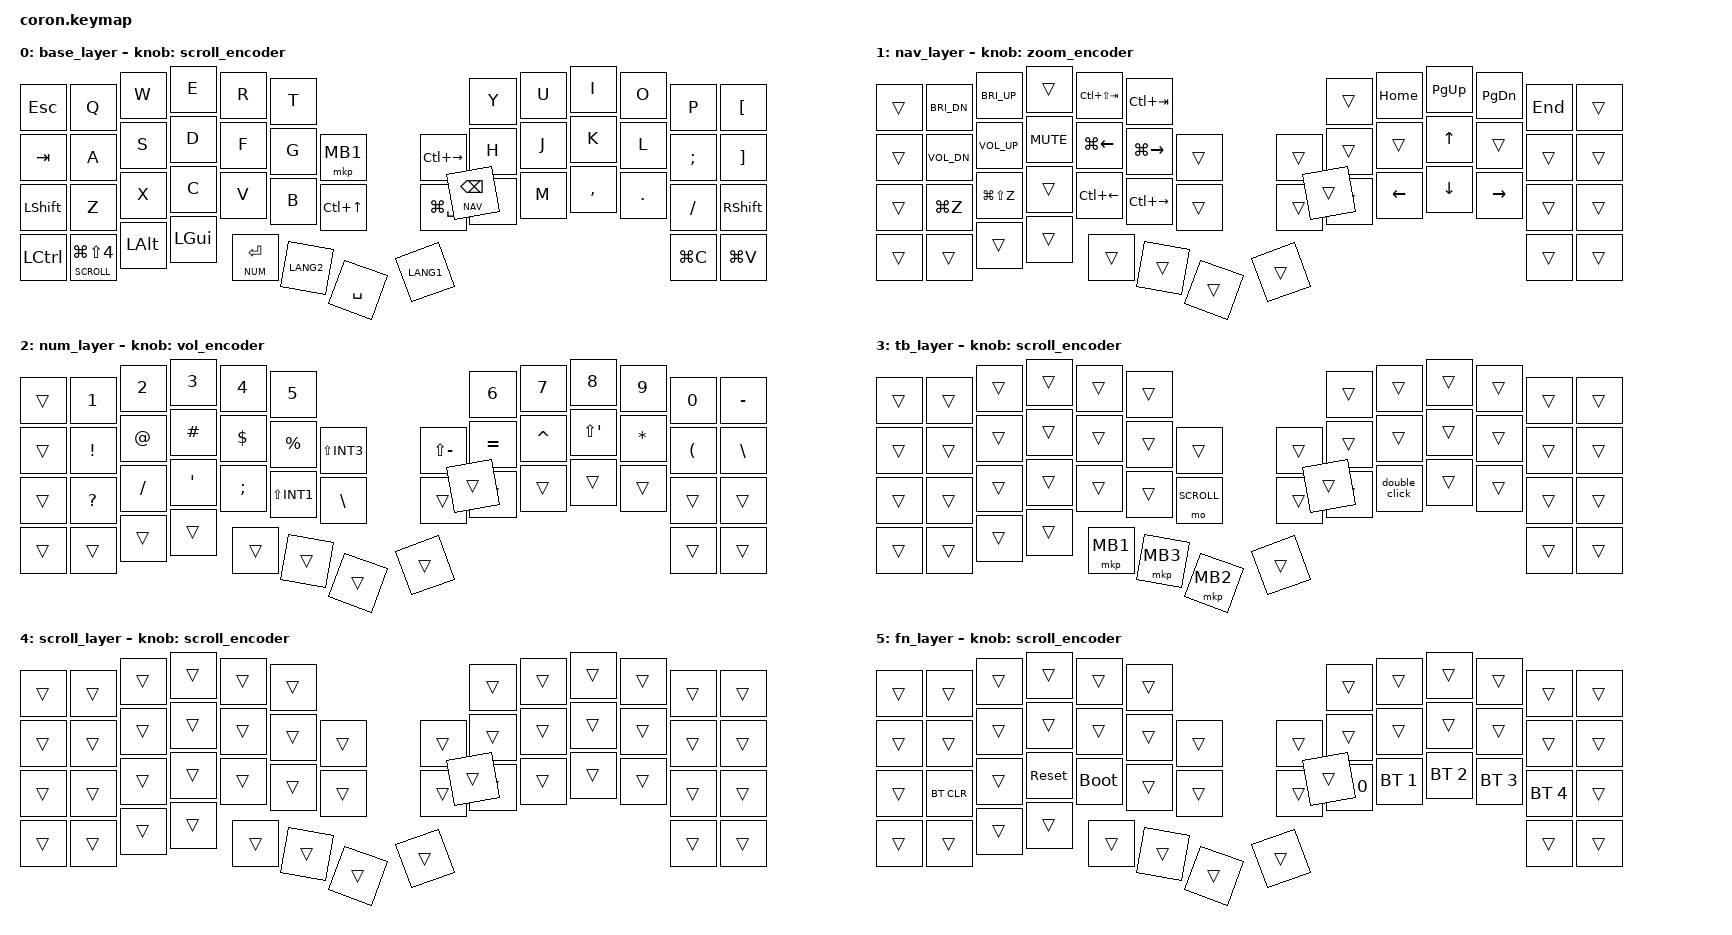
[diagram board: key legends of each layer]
/* coron.keymap
 *
 * Layer map:
 *   0 BASE   — default typing
 *   1 NAV    — navigation + consumer keys   (right thumb hold)
 *   2 NUM    — numbers (Q-row) + symbols    (left thumb hold)
 *   3 TB     — trackball buttons           (trackball auto)
 *   4 SCROLL — trackball scroll mode       (t2=NAV/ENTER hold in TB)
 *   5 FN     — BT, bootloader             (combo: 英数+かな)
 *
 * Physical key index reference (flat, 0-based):
 *   Row0(12): 0-11    Row1(14): 12-25
 *   Row2(14): 26-39   Row3(11): 40-50
 *
 * Thumb cluster Row3:
 *   idx43=Cmd  idx44=t1(NUM/ENTER)  idx45=英数  idx46=SPC
 *   idx47=かな  idx48=th2(NAV/BSPC)  idx49=DEL  idx50=SPC
 */

#include <behaviors.dtsi>
#include <dt-bindings/zmk/bt.h>
#include <dt-bindings/zmk/keys.h>
#define ZMK_POINTING_DEFAULT_SCRL_VAL 200
#include <dt-bindings/zmk/pointing.h>
#include <input/processors.dtsi>

/* ── Layer aliases ─────────────────────────────────────────── */

#define BASE   0
#define NAV    1
#define NUM    2
#define TB     3
#define SCROLL 4
#define FN     5

/* ── Trackball config ──────────────────────────────────────── */

&trackball {
    scroll-layers = <SCROLL>;
};

&trackball_listener {
    input-processors = <&zip_y_scaler 4 3>, <&tb_temp_layer TB 500>;
};

/* ── Global behaviour tweaks ───────────────────────────────── */

&mt {
    flavor = "balanced";
    quick-tap-ms = <0>;
};

&lt {
    flavor = "balanced";
    tapping-term-ms = <200>;
};

/ {
    /* ── Input processors ───────────────────────────────────── */

    zip_y_scaler: zip_y_scaler {
        compatible = "zmk,input-processor-scaler";
        #input-processor-cells = <2>;
        type = <INPUT_EV_REL>;
        codes = <INPUT_REL_Y>;
        track-remainders;
    };

    tb_temp_layer: tb_temp_layer {
        compatible = "zmk,input-processor-temp-layer";
        #input-processor-cells = <2>;
        excluded-positions = <32 35 44 45 46>;
    };

    /* ── Combos ─────────────────────────────────────────────── */

    combos {
        compatible = "zmk,combos";

        /* SPC(idx46) + かな(idx47) simultaneously → FN layer */

        fn_layer {
            bindings = <&mo FN>;
            key-positions = <46 47>;
            timeout-ms = <50>;
        };
    };

    /* ── Macros ──────────────────────────────────────────────── */

    macros {


        ss_macro: ss_macro {
            compatible = "zmk,behavior-macro";
            #binding-cells = <0>;
            bindings = <&kp LG(LS(N4))>;
            label = "SCREENSHOT";
        };

        double_click: double_click {
            compatible = "zmk,behavior-macro";
            #binding-cells = <0>;
            wait-ms = <0>;
            tap-ms = <10>;
            bindings = <&mkp MB1>, <&mkp MB1>;
            label = "DOUBLE_CLICK";
        };

    };

    /* ── Custom behaviours ───────────────────────────────────── */

    behaviors {


        scroll_encoder: scroll_encoder {
            compatible = "zmk,behavior-sensor-rotate";
            #sensor-binding-cells = <0>;
            bindings = <&msc SCRL_DOWN>, <&msc SCRL_UP>;
            tap-ms = <20>;
        };

        hscroll_encoder: hscroll_encoder {
            compatible = "zmk,behavior-sensor-rotate";
            #sensor-binding-cells = <0>;
            bindings = <&msc SCRL_LEFT>, <&msc SCRL_RIGHT>;
            tap-ms = <20>;
        };

        zoom_encoder: zoom_encoder {
            compatible = "zmk,behavior-sensor-rotate";
            #sensor-binding-cells = <0>;
            bindings = <&kp LG(MINUS)>, <&kp LG(EQUAL)>;
        };

        vol_encoder: vol_encoder {
            compatible = "zmk,behavior-sensor-rotate";
            #sensor-binding-cells = <0>;
            bindings = <&kp C_VOL_DN>, <&kp C_VOL_UP>;
        };

        tab_encoder: tab_encoder {
            compatible = "zmk,behavior-sensor-rotate";
            #sensor-binding-cells = <0>;
            bindings = <&kp LC(LS(TAB))>, <&kp LC(TAB)>;
        };
    };

    /* ── Keymap ──────────────────────────────────────────────── */

    keymap {
        compatible = "zmk,keymap";

        base_layer {
            bindings = <
&kp ESC    &kp Q             &kp W     &kp E      &kp R     &kp T                         &kp Y          &kp U                            &kp I     &kp O      &kp P      &kp LBKT
&kp TAB    &kp A             &kp S     &kp D      &kp F     &kp G                         &mkp MB1       &kp LC(RIGHT)                    &kp H     &kp J      &kp K      &kp L     &kp SEMI   &kp RBKT
&kp LSHFT  &kp Z             &kp X     &kp C      &kp V     &kp B                         &kp LC(UP_ARROW)       &kp LG(SPACE)                    &kp N     &kp M      &kp COMMA  &kp DOT   &kp SLASH  &kp RSHFT
&kp LCTRL  &lt SCROLL LG(LS(N4))  &kp LALT  &kp LGUI   &lt NUM ENTER  &kp LANG2  &kp SPC  &kp LANG1  &lt NAV BSPC  &kp LG(C)  &kp LG(V)
            >;

            sensor-bindings = <&scroll_encoder>;
        };

        nav_layer {
            bindings = <
&trans  &kp C_BRI_DN  &kp C_BRI_UP  &trans      &kp LC(LS(TAB))  &kp LC(TAB)                    &trans    &kp HOME   &kp PG_UP &kp PG_DN &kp END  &trans
&trans  &kp C_VOL_DN  &kp C_VOL_UP  &kp C_MUTE  &kp LG(LEFT)     &kp LG(RIGHT)  &trans  &trans  &trans    &trans     &kp UP    &trans     &trans   &trans
&trans  &kp LG(Z)         &kp LG(LS(Z)) &trans      &kp LC(LEFT)     &kp LC(RIGHT)  &trans  &trans  &trans    &kp LEFT   &kp DOWN  &kp RIGHT  &trans   &trans
&trans  &trans        &trans        &trans      &trans           &trans         &trans  &trans  &trans    &trans     &trans
            >;

            sensor-bindings = <&zoom_encoder>;
        };

        num_layer {
            bindings = <
&trans  &kp N1     &kp N2    &kp N3     &kp N4    &kp N5     &kp N6     &kp N7    &kp N8    &kp N9    &kp N0    &kp MINUS
&trans  &kp EXCL   &kp AT    &kp HASH   &kp DLLR  &kp PRCNT  &kp LS(INT3)  &kp LS(MINUS)  &kp EQUAL  &kp CARET  &kp LS(SQT)  &kp ASTRK  &kp LPAR  &kp BSLH
&trans  &kp QMARK  &kp FSLH  &kp SQT    &kp SEMI  &kp LS(INT1)  &kp BSLH   &trans     &trans     &trans    &trans    &trans    &trans    &trans
&trans  &trans     &trans    &trans     &trans    &trans     &trans     &trans     &trans     &trans    &trans
            >;

            sensor-bindings = <&vol_encoder>;
        };

        tb_layer {
            bindings = <
&trans  &trans  &trans  &trans  &trans  &trans  &trans      &trans     &trans  &trans    &trans    &trans
&trans  &trans  &trans  &trans  &trans  &trans  &trans      &trans     &trans  &trans    &trans    &trans    &trans  &trans
&trans  &trans  &trans  &trans  &trans  &trans  &mo SCROLL  &trans     &trans  &double_click  &trans    &trans    &trans  &trans
&trans  &trans  &trans  &trans    &mkp MB1      &mkp MB3      &mkp MB2    &trans     &trans  &trans    &trans
            >;

            sensor-bindings = <&scroll_encoder>;
        };

        scroll_layer {
            bindings = <
&trans  &trans  &trans  &trans  &trans  &trans  &trans  &trans  &trans  &trans  &trans  &trans
&trans  &trans  &trans  &trans  &trans  &trans  &trans  &trans  &trans  &trans  &trans  &trans  &trans  &trans
&trans  &trans  &trans  &trans  &trans  &trans  &trans  &trans  &trans  &trans  &trans  &trans  &trans  &trans
&trans  &trans  &trans  &trans  &trans  &trans  &trans  &trans  &trans  &trans  &trans
            >;

            sensor-bindings = <&scroll_encoder>;
        };

        fn_layer {
            bindings = <
&trans  &trans      &trans  &trans      &trans       &trans  &trans  &trans  &trans        &trans        &trans        &trans
&trans  &trans      &trans  &trans      &trans       &trans  &trans  &trans  &trans        &trans        &trans        &trans        &trans        &trans
&trans  &bt BT_CLR  &trans  &sys_reset  &bootloader  &trans  &trans  &trans  &bt BT_SEL 0  &bt BT_SEL 1  &bt BT_SEL 2  &bt BT_SEL 3  &bt BT_SEL 4  &trans
&trans  &trans      &trans  &trans      &trans       &trans  &trans  &trans  &trans        &trans        &trans
            >;

            sensor-bindings = <&scroll_encoder>;
        };
    };
};
